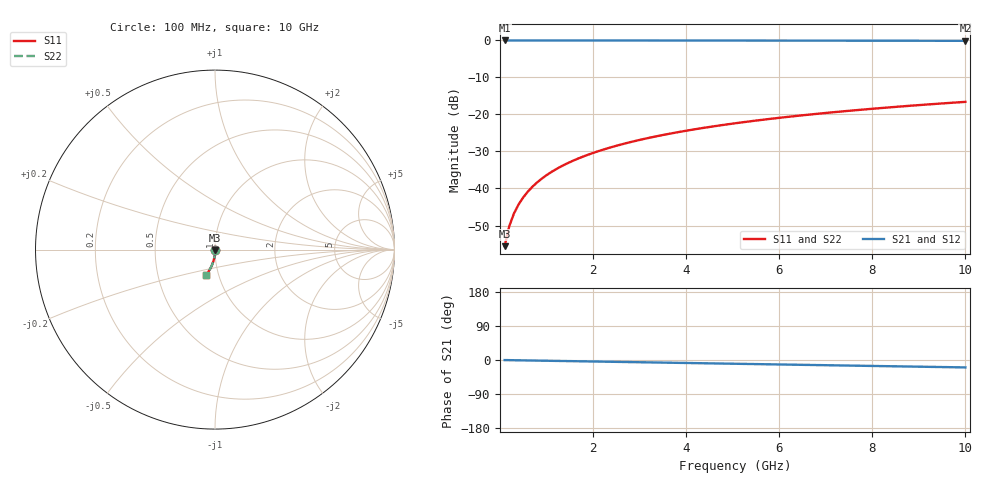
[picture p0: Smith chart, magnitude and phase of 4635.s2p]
# Hz S RI R 50.00
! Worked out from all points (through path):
!   100 points, 100 MHz to 10 GHz, reference 50 ohm
!   highest |S21| = -0.01 dB at 100 MHz (marker M1); lowest = -0.1 dB at 10 GHz (marker M2)
!   group delay of S21, straight-line fit = 5.44 ps
!   lowest |S11| = -55.6 dB at 100 MHz (marker M3), VSWR 1.00, Z = 50.1 - j0.152 ohm
!   |S11| at or under -10 dB: start of sweep to end of sweep
!   |S22| runs from -55.6 to -16.6 dB; largest |S21 - S12| = 0
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1e8  0.000691 -0.00151  0.9993 -0.00342  0.9993 -0.00342  0.000691 -0.00151
2e8  0.000677 -0.00303  0.9993 -0.00685  0.9993 -0.00685  0.000677 -0.00303
3e8  0.000653 -0.00454  0.9992 -0.0103  0.9992 -0.0103  0.000653 -0.00454
4e8  0.000617 -0.00605  0.9992 -0.0137  0.9992 -0.0137  0.000617 -0.00605
5e8  0.00057 -0.00756  0.9991 -0.0171  0.9991 -0.0171  0.00057 -0.00756
6e8  0.000513 -0.00908  0.999 -0.0205  0.999 -0.0205  0.000513 -0.00908
7e8  0.000445 -0.0106  0.9989 -0.024  0.9989 -0.024  0.000445 -0.0106
8e8  0.000367 -0.0121  0.9988 -0.0274  0.9988 -0.0274  0.000367 -0.0121
9e8  0.000279 -0.0136  0.9987 -0.0308  0.9987 -0.0308  0.000279 -0.0136
1.1e9  6.98e-05 -0.0166  0.9984 -0.0377  0.9984 -0.0377  6.98e-05 -0.0166
1.4e9  -0.000321 -0.0212  0.9979 -0.0479  0.9979 -0.0479  -0.000321 -0.0212
1.8e9  -0.000988 -0.0272  0.997 -0.0616  0.997 -0.0616  -0.000988 -0.0272
2.1e9  -0.0016 -0.0317  0.9961 -0.0718  0.9961 -0.0718  -0.0016 -0.0317
2.5e9  -0.00255 -0.0377  0.9948 -0.0854  0.9948 -0.0854  -0.00255 -0.0377
2.9e9  -0.00367 -0.0436  0.9933 -0.099  0.9933 -0.099  -0.00367 -0.0436
3.4e9  -0.0053 -0.051  0.9911 -0.116  0.9911 -0.116  -0.0053 -0.051
4.2e9  -0.00842 -0.0627  0.9868 -0.143  0.9868 -0.143  -0.00842 -0.0627
5.1e9  -0.0127 -0.0757  0.981 -0.1732  0.981 -0.1732  -0.0127 -0.0757
5.9e9  -0.0172 -0.0869  0.9749 -0.1998  0.9749 -0.1998  -0.0172 -0.0869
6.7e9  -0.0222 -0.0979  0.9679 -0.2261  0.9679 -0.2261  -0.0222 -0.0979
8.4e9  -0.0349 -0.1202  0.9505 -0.281  0.9505 -0.281  -0.0349 -0.1202
1e10  -0.0491 -0.1396  0.9308 -0.3311  0.9308 -0.3311  -0.0491 -0.1396
